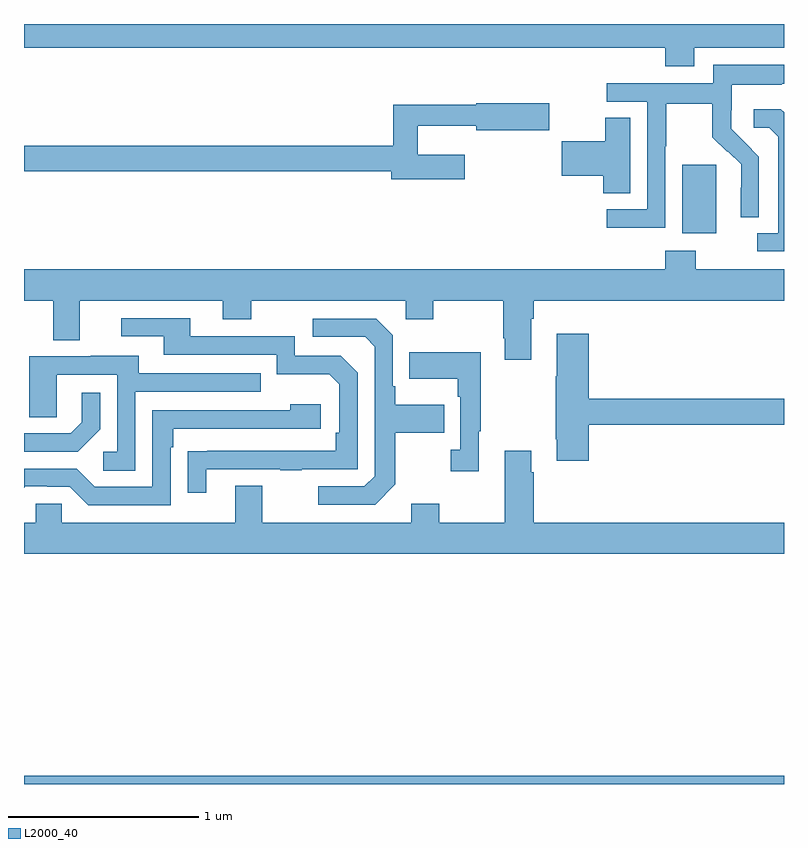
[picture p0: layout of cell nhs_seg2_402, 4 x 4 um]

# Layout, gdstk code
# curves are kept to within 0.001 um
import gdstk
lib = gdstk.Library(unit=1e-6, precision=1e-09)
def R(c, l, rs):  # rectangles x0, y0, x1, y1
    for r in rs: c.add(gdstk.rectangle(r[:2], r[2:], *l))
def P(c, l, *ps):  # polygons
    for p in ps: c.add(gdstk.Polygon(p, *l))
L2000_40 = (2000, 40)

nhs_seg2_402 = lib.new_cell('nhs_seg2_402')
R(nhs_seg2_402, L2000_40, [(131,603.8,135,603.844), (134.465,606.698,134.644,607.059)])
P(nhs_seg2_402, L2000_40, [(134.527,607.676),(135,607.676),(135,607.8),(131,607.8),(131,607.676),(134.375,607.676),(134.375,607.577),(134.527,607.577)],
  [(134.376,607.156),(134.379,607.156),(134.379,607.38),(134.623,607.38),(134.623,607.205),(134.7,607.128),(134.703,607.131),(134.774,607.061),(134.774,606.938),(134.772,606.938),(134.772,606.784),(134.868,606.784),(134.868,607.102),(134.722,607.25),(134.722,607.347),(134.724,607.347),(134.724,607.481),(134.987,607.481),(134.987,607.485),(135,607.485),(135,607.585),(134.628,607.585),(134.628,607.488),(134.067,607.488),(134.067,607.392),(134.28,607.392),(134.28,606.825),(134.067,606.825),(134.067,606.727),(134.376,606.727)],
  [(133.321,607.111),(133.072,607.111),(133.072,607.265),(133.38,607.265),(133.38,607.241),(133.765,607.241),(133.765,607.383),(133.38,607.383),(133.38,607.375),(132.943,607.375),(132.943,607.16),(131,607.16),(131,607.024),(132.932,607.024),(132.932,606.982),(133.321,606.982)],
  [(135,607.335),(134.984,607.351),(134.841,607.351),(134.841,607.254),(134.922,607.254),(134.969,607.207),(134.969,606.699),(134.859,606.699),(134.859,606.603),(135,606.603)],
  [(134.191,607.307),(134.06,607.307),(134.06,607.184),(133.83,607.184),(133.83,607.001),(134.048,607.001),(134.048,606.91),(134.191,606.91)],
  [(133.669,606.248),(133.682,606.248),(133.682,606.344),(135,606.344),(135,606.508),(134.535,606.508),(134.535,606.607),(134.375,606.607),(134.375,606.508),(131,606.508),(131,606.344),(131.153,606.344),(131.153,606.136),(131.293,606.136),(131.293,606.344),(132.047,606.344),(132.047,606.245),(132.195,606.245),(132.195,606.344),(133.008,606.344),(133.008,606.245),(133.155,606.245),(133.155,606.344),(133.522,606.344),(133.522,606.145),(133.529,606.145),(133.529,606.033),(133.669,606.033)],
  [(131.959,605.457),(132.349,605.457),(132.349,605.452),(132.461,605.452),(132.461,605.457),(132.756,605.457),(132.756,605.964),(132.666,606.054),(132.426,606.054),(132.426,606.156),(131.875,606.156),(131.875,606.252),(131.511,606.252),(131.511,606.156),(131.735,606.156),(131.735,606.06),(132.33,606.06),(132.33,605.957),(132.607,605.957),(132.66,605.904),(132.66,605.65),(132.64,605.65),(132.64,605.553),(131.863,605.552),(131.863,605.334),(131.959,605.334)],
  [(132.955,605.377),(132.955,605.65),(133.211,605.65),(133.211,605.797),(132.955,605.797),(132.955,605.893),(132.942,605.893),(132.942,606.162),(132.855,606.249),(132.519,606.249),(132.519,606.153),(132.795,606.153),(132.846,606.102),(132.846,605.421),(132.792,605.367),(132.549,605.367),(132.549,605.271),(132.849,605.271)],
  [(133.973,605.692),(135,605.692),(135,605.828),(133.973,605.828),(133.973,606.169),(133.805,606.169),(133.805,605.945),(133.798,605.945),(133.798,605.614),(133.805,605.614),(133.805,605.502),(133.973,605.502)],
  [(133.393,605.657),(133.405,605.657),(133.405,606.073),(133.027,606.073),(133.027,605.933),(133.284,605.933),(133.284,605.837),(133.296,605.837),(133.296,605.558),(133.245,605.558),(133.245,605.445),(133.393,605.445)],
  [(131.586,605.865),(132.245,605.865),(132.245,605.961),(131.605,605.961),(131.605,606.055),(131.351,606.055),(131.351,606.051),(131.027,606.051),(131.027,605.731),(131.172,605.731),(131.172,605.955),(131.49,605.955),(131.49,605.55),(131.418,605.55),(131.418,605.449),(131.586,605.449)],
  [(131.4,605.666),(131.4,605.86),(131.303,605.86),(131.303,605.703),(131.246,605.646),(131,605.646),(131,605.55),(131.284,605.55)],
  [(131.772,605.573),(131.785,605.573),(131.785,605.67),(132.562,605.67),(132.562,605.8),(132.401,605.8),(132.401,605.766),(131.676,605.766),(131.676,605.364),(131.373,605.364),(131.277,605.46),(131,605.46),(131,605.36),(131.007,605.367),(131.123,605.367),(131.123,605.364),(131.241,605.364),(131.337,605.268),(131.772,605.268)],
  [(133.037,605.275),(133.037,605.176),(132.253,605.176),(132.253,605.371),(132.113,605.371),(132.113,605.176),(131.199,605.176),(131.199,605.274),(131.061,605.274),(131.061,605.176),(131,605.176),(131,605.012),(135,605.012),(135,605.176),(133.682,605.176),(133.682,605.441),(133.669,605.441),(133.669,605.554),(133.529,605.554),(133.529,605.176),(133.185,605.176),(133.185,605.275)])

lib.write_gds('nhs_seg2_402.gds')
